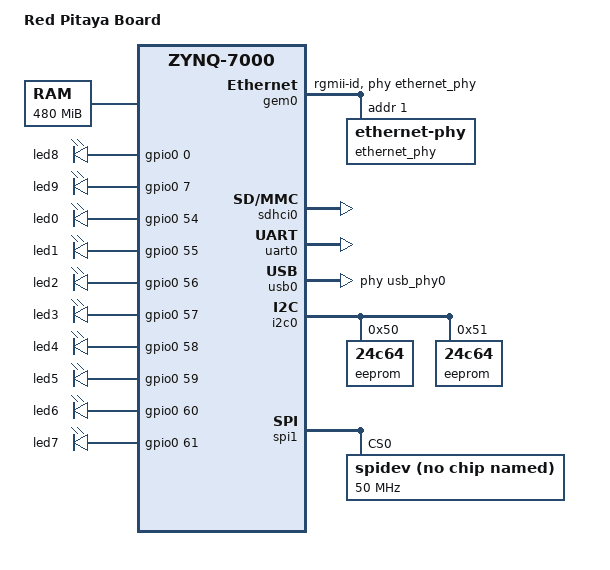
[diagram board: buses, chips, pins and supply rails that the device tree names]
/*
 * Red Pitaya board DTS
 *
 *  Copyright (C) 2011 - 2015 Xilinx
 *
 * SPDX-License-Identifier:	GPL-2.0+
 *
 * Based on the pattern in https://github.com/Xilinx/u-boot-xlnx/tree/master/arch/arm/dts and
 *  https://github.com/Xilinx/linux-xlnx/tree/master/arch/arm/boot/dts modified based on the
 *  devicetree information in https://github.com/RedPitaya/RedPitaya/tree/master/fpga/dts
 */
/dts-v1/;
#include "zynq-7000.dtsi"

/ {
	model = "Red Pitaya Board";
	compatible = "xlnx,zynq-red-pitaya", "xlnx,zynq-7000";

	aliases {
		ethernet0 = &gem0;
		serial0 = &uart0;
	};

	memory {
		device_type = "memory";
		reg = <0x0 0x1E000000>;
	};

	chosen {
		bootargs = "earlyprintk";
		stdout-path = "serial0:115200n8";
	};

	usb_phy0: phy0 {
		compatible = "ulpi-phy";
		#phy-cells = <0>;
		reg = <0xe0002000 0x1000>;
		view-port = <0x0170>;
		drv-vbus;
	};

	reserved-memory {
		#address-cells = <1>;
		#size-cells = <1>;
		ranges;
		linux,cma {
			compatible = "shared-dma-pool";
			reusable;
			size = <0x1000000>;
			alignment = <0x2000>;
			linux,cma-default;
		};
		rprx_reserverd: labuf@a000000 {
			/*compatible = "redpitaya,rprx-memory";*/
			reg = <0xa000000 0x2000000>;
		};
	};

	led-system {
		compatible = "gpio-leds";
		led-8-yellow {
			label = "led8";
			gpios = <&gpio0 0 0>;
			default-state = "off";
			linux,default-trigger = "mmc0";
		};
		led-9-red {
			label = "led9";
			gpios = <&gpio0 7 0>;
			default-state = "off";
			linux,default-trigger = "heartbeat";
		};
	};

	led-user {
		compatible = "gpio-leds";
		led-0-yellow {
			label = "led0";
			gpios = <&gpio0 54 0>;
			default-state = "off";
		};
		led-1-yellow {
			label = "led1";
			gpios = <&gpio0 55 0>;
			default-state = "off";
		};
		led-2-yellow {
			label = "led2";
			gpios = <&gpio0 56 0>;
			default-state = "off";
		};
		led-3-yellow {
			label = "led3";
			gpios = <&gpio0 57 0>;
			default-state = "off";
		};
		led-4-yellow {
			label = "led4";
			gpios = <&gpio0 58 0>;
			default-state = "off";
		};
		led-5-yellow {
			label = "led5";
			gpios = <&gpio0 59 0>;
			default-state = "off";
		};
		led-6-yellow {
			label = "led6";
			gpios = <&gpio0 60 0>;
			default-state = "off";
		};
		led-7-yellow {
			label = "led7";
			gpios = <&gpio0 61 0>;
			default-state = "off";
		};
	};
};

/*
 * PL clock configuration
 */

&clkc {
	fclk-enable = <0xf>;
};

&gem0 {
	status = "okay";
	phy-mode = "rgmii-id";
	phy-handle = <&ethernet_phy>;

	ethernet_phy: ethernet-phy@1 {
		reg = <1>;
	};
};

&sdhci0 {
	u-boot,dm-pre-reloc;
	status = "okay";
};

&uart0 {
	u-boot,dm-pre-reloc;
	status = "okay";
};

&usb0 {
	usb-phy = <&usb_phy0>;
};

/*
 * list devices on I2C bus
 */

&i2c0 {
	eeprom@50 {
		compatible = "24c64";
		reg = <0x50>;
		pagesize = <32>;
	};

	eeprom@51 {
		compatible = "24c64";
		reg = <0x51>;
		pagesize = <32>;
	};
};

/*
 * list devices on SPI bus
*/

&spi1 {
	spidev@0 {
		compatible = "spidev";
		reg = <0>; //chipselect 0
		spi-max-frequency = <50000000>;
	};
};
